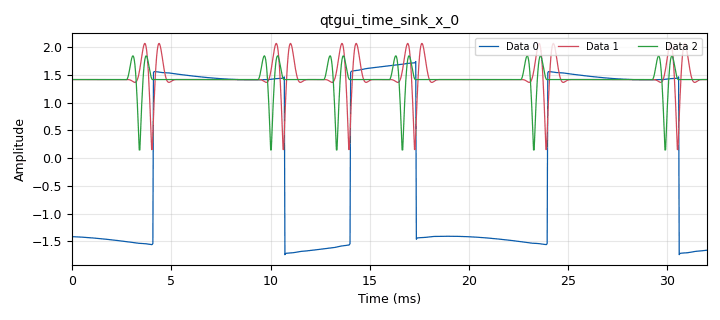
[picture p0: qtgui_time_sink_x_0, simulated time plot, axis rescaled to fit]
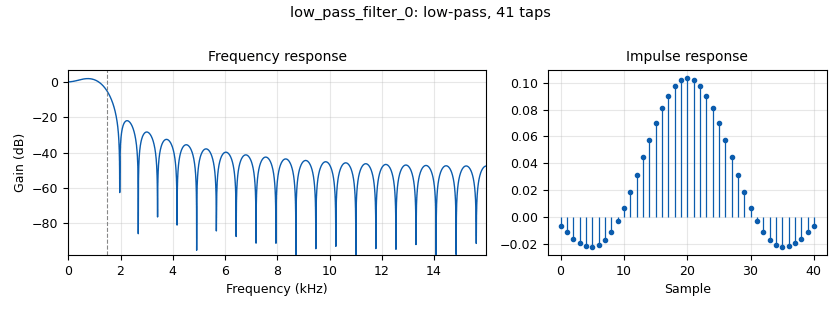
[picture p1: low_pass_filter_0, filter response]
<?xml version='1.0' encoding='utf-8'?>
<?grc format='1' created='3.7.13'?>
<flow_graph>
<block>
<key>options</key>
<param><key>id</key><value>top_block</value></param>
<param><key>generate_options</key><value>qt_gui</value></param>
</block>
<block>
<key>variable_qtgui_range</key>
<param><key>id</key><value>filter_bw</value></param>
<param><key>value</key><value>5 * symb_rate</value></param>
<param><key>orient</key><value>Qt.Horizontal</value></param>
<param><key>start</key><value>0.5 * symb_rate</value></param>
<param><key>step</key><value>1</value></param>
<param><key>stop</key><value>10 * symb_rate</value></param>
</block>
<block>
<key>variable_qtgui_range</key>
<param><key>id</key><value>noise_volt</value></param>
<param><key>value</key><value>0.0001</value></param>
<param><key>gui_hint</key><value>0,0,1,1</value></param>
<param><key>label</key><value>Channel: Noise Voltage</value></param>
<param><key>orient</key><value>Qt.Horizontal</value></param>
<param><key>start</key><value>0</value></param>
<param><key>step</key><value>0.01</value></param>
<param><key>stop</key><value>1</value></param>
<param><key>widget</key><value>slider</value></param>
</block>
<block>
<key>variable</key>
<param><key>id</key><value>samp_rate</value></param>
<param><key>value</key><value>32000</value></param>
</block>
<block>
<key>variable</key>
<param><key>id</key><value>symb_rate</value></param>
<param><key>value</key><value>300</value></param>
</block>
<block>
<key>analog_pll_freqdet_cf</key>
<param><key>id</key><value>analog_pll_freqdet_cf_0</value></param>
<param><key>w</key><value>0.01</value></param>
<param><key>max_freq</key><value>0.06</value></param>
<param><key>min_freq</key><value>-0.06</value></param>
</block>
<block>
<key>blocks_complex_to_arg</key>
<param><key>id</key><value>blocks_complex_to_arg_0</value></param>
</block>
<block>
<key>blocks_complex_to_arg</key>
<param><key>id</key><value>blocks_complex_to_arg_0_0</value></param>
<param><key>_enabled</key><value>0</value></param>
</block>
<block>
<key>blocks_complex_to_mag</key>
<param><key>id</key><value>blocks_complex_to_mag_0</value></param>
</block>
<block>
<key>blocks_complex_to_mag</key>
<param><key>id</key><value>blocks_complex_to_mag_0_0</value></param>
</block>
<block>
<key>blocks_float_to_complex</key>
<param><key>id</key><value>blocks_float_to_complex_0</value></param>
</block>
<block>
<key>blocks_multiply_const_vxx</key>
<param><key>id</key><value>blocks_multiply_const_vxx_0</value></param>
<param><key>const</key><value>-0.5</value></param>
<param><key>type</key><value>float</value></param>
</block>
<block>
<key>blocks_multiply_xx</key>
<param><key>id</key><value>blocks_multiply_xx_0</value></param>
<param><key>type</key><value>complex</value></param>
</block>
<block>
<key>blocks_multiply_xx</key>
<param><key>id</key><value>blocks_multiply_xx_1</value></param>
<param><key>type</key><value>complex</value></param>
</block>
<block>
<key>blocks_repeat</key>
<param><key>id</key><value>blocks_repeat_0</value></param>
<param><key>interp</key><value>samp_rate / symb_rate</value></param>
<param><key>type</key><value>float</value></param>
</block>
<block>
<key>blocks_throttle</key>
<param><key>id</key><value>blocks_throttle_0</value></param>
<param><key>samples_per_second</key><value>samp_rate</value></param>
<param><key>type</key><value>complex</value></param>
</block>
<block>
<key>blocks_vco_c</key>
<param><key>id</key><value>blocks_vco_c_0</value></param>
<param><key>amplitude</key><value>1</value></param>
<param><key>samp_rate</key><value>samp_rate</value></param>
<param><key>sensitivity</key><value>samp_rate</value></param>
</block>
<block>
<key>blocks_vector_source_x</key>
<param><key>id</key><value>blocks_vector_source_x_0</value></param>
<param><key>type</key><value>float</value></param>
<param><key>repeat</key><value>True</value></param>
<param><key>vector</key><value>(1, 1, -1, 1, -1, -1)</value></param>
</block>
<block>
<key>channels_channel_model</key>
<param><key>id</key><value>channels_channel_model_0_0</value></param>
<param><key>epsilon</key><value>1.0</value></param>
<param><key>freq_offset</key><value>0.0005</value></param>
<param><key>noise_voltage</key><value>noise_volt</value></param>
<param><key>seed</key><value>0</value></param>
<param><key>taps</key><value>1.0</value></param>
</block>
<block>
<key>dc_blocker_xx</key>
<param><key>id</key><value>dc_blocker_xx_0</value></param>
<param><key>length</key><value>320</value></param>
<param><key>long_form</key><value>True</value></param>
<param><key>type</key><value>ff</value></param>
</block>
<block>
<key>low_pass_filter</key>
<param><key>id</key><value>low_pass_filter_0</value></param>
<param><key>cutoff_freq</key><value>filter_bw</value></param>
<param><key>decim</key><value>1</value></param>
<param><key>type</key><value>fir_filter_ccf</value></param>
<param><key>gain</key><value>1</value></param>
<param><key>samp_rate</key><value>samp_rate</value></param>
<param><key>width</key><value>filter_bw / 2</value></param>
<param><key>win</key><value>firdes.WIN_RECTANGULAR</value></param>
</block>
<block>
<key>low_pass_filter</key>
<param><key>id</key><value>low_pass_filter_0_0</value></param>
<param><key>cutoff_freq</key><value>filter_bw</value></param>
<param><key>decim</key><value>1</value></param>
<param><key>type</key><value>fir_filter_ccf</value></param>
<param><key>gain</key><value>1</value></param>
<param><key>samp_rate</key><value>samp_rate</value></param>
<param><key>width</key><value>filter_bw / 2</value></param>
<param><key>win</key><value>firdes.WIN_RECTANGULAR</value></param>
</block>
<block>
<key>qtgui_time_sink_x</key>
<param><key>id</key><value>qtgui_time_sink_x_0</value></param>
<param><key>color1</key><value>"blue"</value></param>
<param><key>label1</key><value></value></param>
<param><key>color2</key><value>"red"</value></param>
<param><key>label2</key><value></value></param>
<param><key>color3</key><value>"green"</value></param>
<param><key>label3</key><value></value></param>
<param><key>nconnections</key><value>3</value></param>
<param><key>size</key><value>1024</value></param>
<param><key>srate</key><value>samp_rate</value></param>
<param><key>type</key><value>float</value></param>
</block>
<connection><source_block_id>analog_pll_freqdet_cf_0</source_block_id><sink_block_id>blocks_multiply_const_vxx_0</sink_block_id><source_key>0</source_key><sink_key>0</sink_key></connection>
<connection><source_block_id>blocks_complex_to_arg_0</source_block_id><sink_block_id>dc_blocker_xx_0</sink_block_id><source_key>0</source_key><sink_key>0</sink_key></connection>
<connection><source_block_id>blocks_complex_to_arg_0_0</source_block_id><sink_block_id>qtgui_time_sink_x_0</sink_block_id><source_key>0</source_key><sink_key>2</sink_key></connection>
<connection><source_block_id>blocks_complex_to_mag_0</source_block_id><sink_block_id>qtgui_time_sink_x_0</sink_block_id><source_key>0</source_key><sink_key>1</sink_key></connection>
<connection><source_block_id>blocks_complex_to_mag_0_0</source_block_id><sink_block_id>qtgui_time_sink_x_0</sink_block_id><source_key>0</source_key><sink_key>2</sink_key></connection>
<connection><source_block_id>blocks_float_to_complex_0</source_block_id><sink_block_id>blocks_throttle_0</sink_block_id><source_key>0</source_key><sink_key>0</sink_key></connection>
<connection><source_block_id>blocks_multiply_const_vxx_0</source_block_id><sink_block_id>blocks_vco_c_0</sink_block_id><source_key>0</source_key><sink_key>0</sink_key></connection>
<connection><source_block_id>blocks_multiply_xx_0</source_block_id><sink_block_id>analog_pll_freqdet_cf_0</sink_block_id><source_key>0</source_key><sink_key>0</sink_key></connection>
<connection><source_block_id>blocks_multiply_xx_1</source_block_id><sink_block_id>blocks_complex_to_arg_0</sink_block_id><source_key>0</source_key><sink_key>0</sink_key></connection>
<connection><source_block_id>blocks_multiply_xx_1</source_block_id><sink_block_id>blocks_complex_to_mag_0</sink_block_id><source_key>0</source_key><sink_key>0</sink_key></connection>
<connection><source_block_id>blocks_repeat_0</source_block_id><sink_block_id>blocks_float_to_complex_0</sink_block_id><source_key>0</source_key><sink_key>1</sink_key></connection>
<connection><source_block_id>blocks_repeat_0</source_block_id><sink_block_id>blocks_float_to_complex_0</sink_block_id><source_key>0</source_key><sink_key>0</sink_key></connection>
<connection><source_block_id>blocks_throttle_0</source_block_id><sink_block_id>low_pass_filter_0</sink_block_id><source_key>0</source_key><sink_key>0</sink_key></connection>
<connection><source_block_id>blocks_vco_c_0</source_block_id><sink_block_id>blocks_multiply_xx_1</sink_block_id><source_key>0</source_key><sink_key>1</sink_key></connection>
<connection><source_block_id>blocks_vector_source_x_0</source_block_id><sink_block_id>blocks_repeat_0</sink_block_id><source_key>0</source_key><sink_key>0</sink_key></connection>
<connection><source_block_id>channels_channel_model_0_0</source_block_id><sink_block_id>blocks_complex_to_arg_0_0</sink_block_id><source_key>0</source_key><sink_key>0</sink_key></connection>
<connection><source_block_id>channels_channel_model_0_0</source_block_id><sink_block_id>blocks_complex_to_mag_0_0</sink_block_id><source_key>0</source_key><sink_key>0</sink_key></connection>
<connection><source_block_id>channels_channel_model_0_0</source_block_id><sink_block_id>low_pass_filter_0_0</sink_block_id><source_key>0</source_key><sink_key>0</sink_key></connection>
<connection><source_block_id>dc_blocker_xx_0</source_block_id><sink_block_id>qtgui_time_sink_x_0</sink_block_id><source_key>0</source_key><sink_key>0</sink_key></connection>
<connection><source_block_id>low_pass_filter_0</source_block_id><sink_block_id>channels_channel_model_0_0</sink_block_id><source_key>0</source_key><sink_key>0</sink_key></connection>
<connection><source_block_id>low_pass_filter_0_0</source_block_id><sink_block_id>blocks_multiply_xx_0</sink_block_id><source_key>0</source_key><sink_key>0</sink_key></connection>
<connection><source_block_id>low_pass_filter_0_0</source_block_id><sink_block_id>blocks_multiply_xx_0</sink_block_id><source_key>0</source_key><sink_key>1</sink_key></connection>
<connection><source_block_id>low_pass_filter_0_0</source_block_id><sink_block_id>blocks_multiply_xx_1</sink_block_id><source_key>0</source_key><sink_key>0</sink_key></connection>
</flow_graph>
